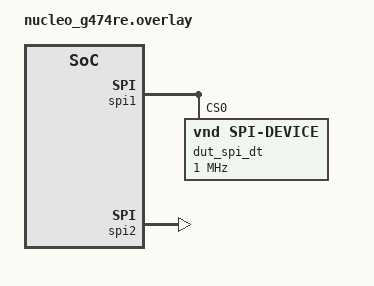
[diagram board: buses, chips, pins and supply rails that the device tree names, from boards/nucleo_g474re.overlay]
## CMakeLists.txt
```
# SPDX-License-Identifier: Apache-2.0
# Copyright (c) 2026 Bhavin Umatiya

cmake_minimum_required(VERSION 3.20.0)

find_package(Zephyr REQUIRED HINTS $ENV{ZEPHYR_BASE})
project(spi_half_duplex)

FILE(GLOB app_sources src/*.c)
target_sources(app PRIVATE ${app_sources})
```

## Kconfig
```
# Copyright (c) 2024 Nordic Semiconductor ASA
# Copyright (c) 2026 Bhavin Umatiya
# SPDX-License-Identifier: Apache-2.0

config TESTED_SPI_MODE
	bool "Tested SPI mode"
	default y
	help
	  This is used to identify that the SPI half-duplex is used in the test.

config PREALLOC_BUFFERS
	bool "Preallocate buffers"
	default y
	help
	  Preallocate buffers used for transceive. Hardware might require
	  buffers to be in a specific memory region (e.g. using
	  `memory-region` property).
```

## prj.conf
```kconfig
# SPDX-License-Identifier: Apache-2.0
# Copyright (c) 2026 Bhavin Umatiya

CONFIG_SPI=y
CONFIG_SPI_SLAVE=y
CONFIG_ZTEST=y
CONFIG_PREALLOC_BUFFERS=y
```

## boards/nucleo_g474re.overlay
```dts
/*
 * SPDX-License-Identifier: Apache-2.0
 * Copyright (c) 2026 Bhavin Umatiya
 */

&spi1 {
	status = "okay";
	dut_spi_dt: test-spi-dev@0 {
		compatible = "vnd,spi-device";
		reg = <0>;
		spi-max-frequency = <1000000>;
	};
};

dut_spis: &spi2 {
	status = "okay";
	peripheral-cs = <0>;
};
```

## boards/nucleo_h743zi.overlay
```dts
/*
 * SPDX-License-Identifier: Apache-2.0
 *
 * Copyright (c) 2026 Bhavin Umatiya
 */

&spi1 {
	status = "okay";
	dut_spi_dt: test-spi-dev@0 {
		compatible = "vnd,spi-device";
		reg = <0>;
		spi-max-frequency = <1000000>;
	};
};

dut_spis: &spi2 {
	status = "okay";
	peripheral-cs = <0>;
};
```

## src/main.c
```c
/*
 * Copyright (c) 2024 Nordic Semiconductor ASA
 * Copyright (c) 2026 Bhavin Umatiya
 *
 * SPDX-License-Identifier: Apache-2.0
 */

#include <errno.h>
#include <string.h>
#include <zephyr/kernel.h>
#include <zephyr/drivers/spi.h>
#include <zephyr/linker/devicetree_regions.h>
#include <zephyr/ztest.h>

#define SPI_MODE (SPI_WORD_SET(8) | SPI_LINES_SINGLE | SPI_TRANSFER_MSB | SPI_MODE_CPHA)

#define SPIM_OP	 (SPI_OP_MODE_MASTER | SPI_MODE | SPI_HALF_DUPLEX)
#define SPIS_OP	 (SPI_OP_MODE_SLAVE | SPI_MODE | SPI_HALF_DUPLEX)

static struct spi_dt_spec spim = SPI_DT_SPEC_GET(DT_NODELABEL(dut_spi_dt), SPIM_OP);
static const struct device *spis_dev = DEVICE_DT_GET(DT_NODELABEL(dut_spis));
static const struct spi_config spis_config = {
	.operation = SPIS_OP,
	.slave = DT_PROP_OR(DT_PATH(zephyr_user), peripheral_cs, 0),
};

static struct k_poll_signal async_sig = K_POLL_SIGNAL_INITIALIZER(async_sig);
static struct k_poll_event async_evt =
	K_POLL_EVENT_INITIALIZER(K_POLL_TYPE_SIGNAL, K_POLL_MODE_NOTIFY_ONLY, &async_sig);

static struct k_poll_signal async_sig_spim = K_POLL_SIGNAL_INITIALIZER(async_sig_spim);
static struct k_poll_event async_evt_spim =
	K_POLL_EVENT_INITIALIZER(K_POLL_TYPE_SIGNAL, K_POLL_MODE_NOTIFY_ONLY, &async_sig_spim);

#define MEMORY_SECTION(node)                                                                       \
	COND_CODE_1(IS_ENABLED(CONFIG_PREALLOC_BUFFERS),                                           \
		    (COND_CODE_1(DT_NODE_HAS_PROP(node, memory_regions),                           \
				 (__attribute__((__section__(                                      \
				     LINKER_DT_NODE_REGION_NAME(DT_PHANDLE(node,                   \
									   memory_regions)))))),   \
				 ())),                                                             \
		    ())

static uint8_t spim_buffer[32] MEMORY_SECTION(DT_BUS(DT_NODELABEL(dut_spi_dt)));
static uint8_t spis_buffer[32] MEMORY_SECTION(DT_NODELABEL(dut_spis));

struct test_data {
	struct k_work_delayable test_work;
	struct k_sem sem;
	int spim_alloc_idx;
	int spis_alloc_idx;
	struct spi_buf_set sets[4];
	struct spi_buf_set *mtx_set;
	struct spi_buf_set *mrx_set;
	struct spi_buf_set *stx_set;
	struct spi_buf_set *srx_set;
	struct spi_buf bufs[8];
	bool async;
};

static struct test_data tdata;

/* Allocate buffer from spim or spis space. */
static uint8_t *buf_alloc(size_t len, bool is_spim)
{
	int *idx = is_spim ? &tdata.spim_alloc_idx : &tdata.spis_alloc_idx;
	uint8_t *buf = is_spim ? spim_buffer : spis_buffer;
	size_t total = is_spim ? sizeof(spim_buffer) : sizeof(spis_buffer);
	uint8_t *rv;

	if (*idx + len > total) {
		zassert_false(true);

		return NULL;
	}

	rv = &buf[*idx];
	*idx += len;

	return rv;
}

static void work_handler(struct k_work *work)
{
	struct k_work_delayable *dwork = k_work_delayable_from_work(work);
	struct test_data *td = (struct test_data *)dwork;
	int rv;

	if (!td->async) {
		rv = spi_transceive_dt(&spim, td->mtx_set, td->mrx_set);
		if (rv == 0) {
			k_sem_give(&td->sem);
		}
	} else {
		rv = spi_transceive_signal(spim.bus, &spim.config, td->mtx_set, td->mrx_set,
				&async_sig_spim);
		zassert_equal(rv, 0);

		rv = k_poll(&async_evt_spim, 1, K_MSEC(200));
		zassert_false(rv, "one or more events are not ready");

		rv = async_evt_spim.signal->result;
		zassert_equal(rv, 0);

		/* Reinitializing for next call */
		async_evt_spim.signal->signaled = 0U;
		async_evt_spim.state = K_POLL_STATE_NOT_READY;

		k_sem_give(&td->sem);
	}
}

/** Copies data from buffers in the set to a single buffer which makes it easier
 * to compare transmitted and received data.
 *
 * @param buf Output buffer.
 * @param len Buffer length.
 * @param set Set of buffers.
 *
 * @return Number of bytes copied.
 */
static int cpy_data(uint8_t *buf, size_t len, struct spi_buf_set *set)
{
	int idx = 0;

	for (size_t i = 0; i < set->count; i++) {
		size_t l = set->buffers[i].len;

		if (len - idx >= l) {
			memcpy(&buf[idx], set->buffers[i].buf, l);
			idx += l;
		} else {
			return -1;
		}
	}

	return idx;
}

/** Compare two sets.
 *
 * @param tx_set TX set.
 * @param rx_set RX set.
 * @param same_size True if it is expected to have the same amount of data in both sets.
 *
 * @return 0 if data is the same and other value indicate that check failed.
 */
static int check_buffers(struct spi_buf_set *tx_set, struct spi_buf_set *rx_set, bool same_size)
{
	static uint8_t tx_data[256];
	static uint8_t rx_data[256];
	int rx_len;
	int tx_len;

	if (!tx_set || !rx_set) {
		return 0;
	}

	rx_len = cpy_data(rx_data, sizeof(rx_data), rx_set);
	tx_len = cpy_data(tx_data, sizeof(tx_data), tx_set);

	if (rx_len < 0 || tx_len < 0) {
		return -1;
	}

	if (same_size && (rx_len != tx_len)) {
		return -1;
	}

	return memcmp(tx_data, rx_data, rx_len);
}

/** Calculate expected number of received bytes by the SPI peripheral.
 *
 * It is used to check if SPI API call for peripheral SPI device returns correct value.
 * @param tx_set TX set.
 * @param rx_set RX set.
 *
 * @return Expected amount of received bytes.
 */
static int peripheral_rx_len(struct spi_buf_set *tx_set, struct spi_buf_set *rx_set)
{
	size_t tx_len = 0;
	size_t rx_len = 0;

	if (!tx_set || !rx_set) {
		return 0;
	}

	for (size_t i = 0; i < tx_set->count; i++) {
		tx_len += tx_set->buffers[i].len;
	}

	for (size_t i = 0; i < rx_set->count; i++) {
		rx_len += rx_set->buffers[i].len;
	}

	return MIN(rx_len, tx_len);
}

/** Generic function which runs the test with sets prepared in the test data structure. */
static void run_test(bool m_same_size, bool s_same_size, bool async)
{
	int rv;
	int periph_rv;
	int srx_len;

	tdata.async = async;
	rv = k_work_schedule(&tdata.test_work, K_MSEC(10));
	zassert_equal(rv, 1);

	if (!async) {
		periph_rv = spi_transceive(spis_dev, &spis_config, tdata.stx_set, tdata.srx_set);
		if (periph_rv == -ENOTSUP) {
			ztest_test_skip();
		}
	} else {
		rv = spi_transceive_signal(spis_dev, &spis_config, tdata.stx_set, tdata.srx_set,
					   &async_sig);
		if (rv == -ENOTSUP) {
			ztest_test_skip();
		}
		zassert_equal(rv, 0);

		/* Transfer not finished yet */
		rv = k_sem_take(&tdata.sem, K_NO_WAIT);
		zassert_equal(rv, -EBUSY);

		rv = k_poll(&async_evt, 1, K_MSEC(200));
		zassert_false(rv, "one or more events are not ready");

		periph_rv = async_evt.signal->result;

		/* Reinitializing for next call */
		async_evt.signal->signaled = 0U;
		async_evt.state = K_POLL_STATE_NOT_READY;
	}

	rv = k_sem_take(&tdata.sem, K_MSEC(100));
	zassert_equal(rv, 0);

	srx_len = peripheral_rx_len(tdata.mtx_set, tdata.srx_set);

	zassert_equal(periph_rv, srx_len, "Got: %d but expected:%d", periph_rv, srx_len);

	rv = check_buffers(tdata.mtx_set, tdata.srx_set, m_same_size);
	zassert_equal(rv, 0);

	rv = check_buffers(tdata.stx_set, tdata.mrx_set, s_same_size);
	zassert_equal(rv, 0);
}

/** Basic test where SPI controller and SPI peripheral have RX and TX sets which contains only one
 *  same size buffer.
 */
static void test_basic(bool async)
{
	size_t len = 16;

	for (int i = 0; i < 4; i++) {
		tdata.bufs[i].buf = buf_alloc(len, i < 2);
		tdata.bufs[i].len = len;
		tdata.sets[i].buffers = &tdata.bufs[i];
		tdata.sets[i].count = 1;
	}

	tdata.mtx_set = &tdata.sets[0];
	tdata.mrx_set = &tdata.sets[1];
	tdata.stx_set = &tdata.sets[2];
	tdata.srx_set = &tdata.sets[3];

	run_test(true, true, async);
}

ZTEST(spi_controller_peripheral, test_basic)
{
	test_basic(false);
}

ZTEST(spi_controller_peripheral, test_basic_async)
{
	test_basic(true);
}

/** Basic test with zero length buffers.
 */
void test_basic_zero_len(bool async)
{
	size_t len = 8;

	/* SPIM */
	tdata.bufs[0].buf = buf_alloc(len, true);
	tdata.bufs[0].len = len;
	tdata.bufs[1].buf = buf_alloc(len, true);
	/* Intentionally len was set to 0 - second buffer "is empty". */
	tdata.bufs[1].len = 0;
	tdata.sets[0].buffers = &tdata.bufs[0];
	tdata.sets[0].count = 2;
	tdata.mtx_set = &tdata.sets[0];

	tdata.bufs[2].buf = buf_alloc(len, true);
	tdata.bufs[2].len = len;
	tdata.bufs[3].buf = buf_alloc(len, true);
	/* Intentionally len was set to 0 - second buffer "is empty". */
	tdata.bufs[3].len = 0;
	tdata.sets[1].buffers = &tdata.bufs[2];
	tdata.sets[1].count = 2;
	tdata.mrx_set = &tdata.sets[1];

	/* SPIS */
	tdata.bufs[4].buf = buf_alloc(len, false);
	tdata.bufs[4].len = len;
	tdata.sets[2].buffers = &tdata.bufs[4];
	tdata.sets[2].count = 1;
	tdata.stx_set = &tdata.sets[2];

	tdata.bufs[6].buf = buf_alloc(len, false);
	tdata.bufs[6].len = len;
	tdata.sets[3].buffers = &tdata.bufs[6];
	tdata.sets[3].count = 1;
	tdata.srx_set = &tdata.sets[3];

	run_test(true, true, async);
}

ZTEST(spi_controller_peripheral, test_basic_zero_len)
{
	test_basic_zero_len(false);
}

ZTEST(spi_controller_peripheral, test_basic_zero_len_async)
{
	test_basic_zero_len(true);
}

/** Setup a transfer where RX buffer on SPI controller and SPI peripheral are
 *  shorter than TX buffers. RX buffers shall contain beginning of TX data
 *  and last TX bytes that did not fit in the RX buffers shall be lost.
 */
static void test_short_rx(bool async)
{
	size_t len = 16;

	tdata.bufs[0].buf = buf_alloc(len, true);
	tdata.bufs[0].len = len;
	tdata.bufs[1].buf = buf_alloc(len, true);
	tdata.bufs[1].len = len - 3; /* RX buffer */
	tdata.bufs[2].buf = buf_alloc(len, false);
	tdata.bufs[2].len = len;
	tdata.bufs[3].buf = buf_alloc(len, false);
	tdata.bufs[3].len = len - 4; /* RX buffer */

	for (int i = 0; i < 4; i++) {
		tdata.sets[i].buffers = &tdata.bufs[i];
		tdata.sets[i].count = 1;
	}

	tdata.mtx_set = &tdata.sets[0];
	tdata.mrx_set = &tdata.sets[1];
	tdata.stx_set = &tdata.sets[2];
	tdata.srx_set = &tdata.sets[3];

	run_test(false, false, async);
}

ZTEST(spi_controller_peripheral, test_short_rx)
{
	test_short_rx(false);
}

ZTEST(spi_controller_peripheral, test_short_rx_async)
{
	test_short_rx(true);
}

/** Test where only master transmits. */
static void test_only_tx(bool async)
{
	size_t len = 16;

	/* MTX buffer */
	tdata.bufs[0].buf = buf_alloc(len, true);
	tdata.bufs[0].len = len;
	tdata.sets[0].buffers = &tdata.bufs[0];
	tdata.sets[0].count = 1;
	tdata.mtx_set = &tdata.sets[0];
	tdata.mrx_set = NULL;

	/* STX buffer */
	tdata.bufs[1].buf = buf_alloc(len, false);
	tdata.bufs[1].len = len;
	tdata.sets[1].buffers = &tdata.bufs[1];
	tdata.sets[1].count = 1;
	tdata.srx_set = &tdata.sets[1];
	tdata.stx_set = NULL;

	run_test(true, true, async);
}

ZTEST(spi_controller_peripheral, test_only_tx)
{
	test_only_tx(false);
}

ZTEST(spi_controller_peripheral, test_only_tx_async)
{
	test_only_tx(true);
}

/** Test where only SPI controller transmits and SPI peripheral receives in chunks. */
static void test_only_tx_in_chunks(bool async)
{
	size_t len1 = 7;
	size_t len2 = 8;

	/* MTX buffer */
	tdata.bufs[0].buf = buf_alloc(len1 + len2, true);
	tdata.bufs[0].len = len1 + len2;
	tdata.sets[0].buffers = &tdata.bufs[0];
	tdata.sets[0].count = 1;
	tdata.mtx_set = &tdata.sets[0];
	tdata.mrx_set = NULL;

	/* STX buffer */
	tdata.bufs[1].buf = buf_alloc(len1, false);
	tdata.bufs[1].len = len1;
	tdata.bufs[2].buf = buf_alloc(len2, false);
	tdata.bufs[2].len = len2;
	tdata.sets[1].buffers = &tdata.bufs[1];
	tdata.sets[1].count = 2;
	tdata.srx_set = &tdata.sets[1];
	tdata.stx_set = NULL;

	run_test(true, true, async);
}

ZTEST(spi_controller_peripheral, test_only_tx_in_chunks)
{
	test_only_tx_in_chunks(false);
}

ZTEST(spi_controller_peripheral, test_only_tx_in_chunks_async)
{
	test_only_tx_in_chunks(true);
}

/** Test where only SPI peripheral transmits. */
static void test_only_rx(bool async)
{
	size_t len = 16;

	/* MTX buffer */
	tdata.bufs[0].buf = buf_alloc(len, true);
	tdata.bufs[0].len = len;
	tdata.sets[0].buffers = &tdata.bufs[0];
	tdata.sets[0].count = 1;
	tdata.mrx_set = &tdata.sets[0];
	tdata.mtx_set = NULL;

	/* STX buffer */
	tdata.bufs[1].buf = buf_alloc(len, false);
	tdata.bufs[1].len = len;
	tdata.sets[1].buffers = &tdata.bufs[1];
	tdata.sets[1].count = 1;
	tdata.stx_set = &tdata.sets[1];
	tdata.srx_set = NULL;

	run_test(true, true, async);
}

ZTEST(spi_controller_peripheral, test_only_rx)
{
	test_only_rx(false);
}

ZTEST(spi_controller_peripheral, test_only_rx_async)
{
	test_only_rx(true);
}

/** Test where only SPI peripheral transmits in chunks. */
static void test_only_rx_in_chunks(bool async)
{
	size_t len1 = 7;
	size_t len2 = 9;

	/* MTX buffer */
	tdata.bufs[0].buf = buf_alloc(len1 + len2, true);
	tdata.bufs[0].len = len1 + len2;
	tdata.sets[0].buffers = &tdata.bufs[0];
	tdata.sets[0].count = 1;
	tdata.mrx_set = &tdata.sets[0];
	tdata.mtx_set = NULL;

	/* STX buffer */
	tdata.bufs[1].buf = buf_alloc(len1, false);
	tdata.bufs[1].len = len1;
	tdata.bufs[2].buf = buf_alloc(len2, false);
	tdata.bufs[2].len = len2;
	tdata.sets[1].buffers = &tdata.bufs[1];
	tdata.sets[1].count = 2;
	tdata.stx_set = &tdata.sets[1];
	tdata.srx_set = NULL;

	run_test(true, true, async);
}

ZTEST(spi_controller_peripheral, test_only_rx_in_chunks)
{
	test_only_rx_in_chunks(false);
}

ZTEST(spi_controller_peripheral, test_only_rx_in_chunks_async)
{
	test_only_rx_in_chunks(true);
}

static void before(void *not_used)
{
	ARG_UNUSED(not_used);

	memset(&tdata, 0, sizeof(tdata));
	for (size_t i = 0; i < sizeof(spim_buffer); i++) {
		spim_buffer[i] = (uint8_t)i;
	}
	for (size_t i = 0; i < sizeof(spis_buffer); i++) {
		spis_buffer[i] = (uint8_t)(i + 0x80);
	}

	k_work_init_delayable(&tdata.test_work, work_handler);
	k_sem_init(&tdata.sem, 0, 1);
}

static void after(void *not_used)
{
	ARG_UNUSED(not_used);

	k_work_cancel_delayable(&tdata.test_work);
}

static void *suite_setup(void)
{
	return NULL;
}

ZTEST_SUITE(spi_controller_peripheral, NULL, suite_setup, before, after, NULL);
```
